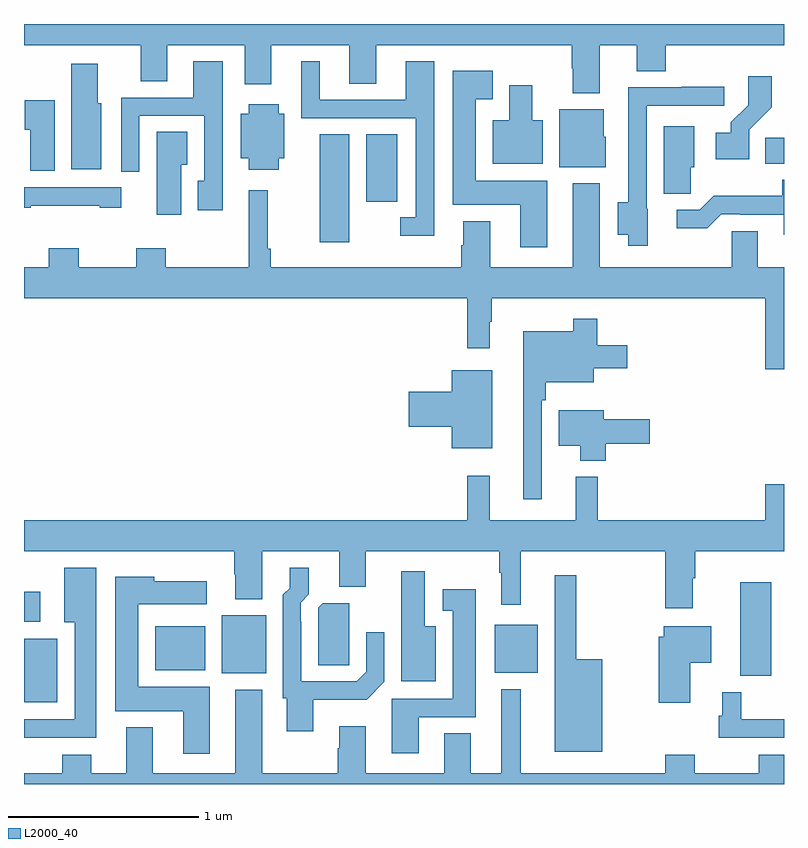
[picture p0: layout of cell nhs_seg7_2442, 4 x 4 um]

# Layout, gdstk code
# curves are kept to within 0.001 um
import gdstk
lib = gdstk.Library(unit=1e-6, precision=1e-09)
def R(c, l, rs):  # rectangles x0, y0, x1, y1
    for r in rs: c.add(gdstk.rectangle(r[:2], r[2:], *l))
def P(c, l, *ps):  # polygons
    for p in ps: c.add(gdstk.Polygon(p, *l))
L2000_40 = (2000, 40)

nhs_seg7_2442 = lib.new_cell('nhs_seg7_2442')
R(nhs_seg7_2442, L2000_40, [(269,1058.429,269.176,1058.764), (272.771,1058.571,272.932,1059.061), (270.041,1058.582,270.274,1058.887), (271.478,1058.585,271.705,1058.839), (269.69,1058.6,269.953,1058.83), (269,1058.853,269.086,1059.013), (270.557,1060.851,270.712,1061.42), (270.8,1061.064,270.964,1061.42), (272.902,1061.264,273,1061.402)])
P(nhs_seg7_2442, L2000_40, [(272.029,1061.888),(272.225,1061.888),(272.225,1061.752),(272.378,1061.752),(272.378,1061.888),(273,1061.888),(273,1062),(269,1062),(269,1061.888),(269.615,1061.888),(269.615,1061.698),(269.755,1061.698),(269.755,1061.888),(270.161,1061.888),(270.161,1061.682),(270.301,1061.682),(270.301,1061.888),(270.713,1061.888),(270.713,1061.686),(270.853,1061.686),(270.853,1061.888),(271.882,1061.888),(271.882,1061.768),(271.889,1061.768),(271.889,1061.636),(272.029,1061.636)],
  [(271.158,1061.803),(271.01,1061.803),(271.01,1061.601),(270.556,1061.601),(270.556,1061.803),(270.458,1061.803),(270.458,1061.505),(271.062,1061.505),(271.062,1060.983),(270.981,1060.983),(270.981,1060.886),(271.158,1060.886)],
  [(270.045,1061.803),(269.891,1061.803),(269.891,1061.613),(269.511,1061.613),(269.511,1061.223),(269.607,1061.223),(269.607,1061.517),(269.949,1061.517),(269.949,1061.175),(269.915,1061.175),(269.915,1061.019),(270.045,1061.019)],
  [(269.407,1061.583),(269.389,1061.583),(269.389,1061.791),(269.249,1061.791),(269.249,1061.235),(269.407,1061.235)],
  [(271.753,1061.176),(271.378,1061.176),(271.378,1061.603),(271.468,1061.603),(271.468,1061.755),(271.256,1061.755),(271.256,1061.048),(271.613,1061.048),(271.613,1060.824),(271.753,1060.824)],
  [(272.817,1061.443),(272.936,1061.562),(272.936,1061.725),(272.811,1061.725),(272.811,1061.573),(272.72,1061.483),(272.72,1061.428),(272.64,1061.428),(272.64,1061.288),(272.817,1061.288)],
  [(271.729,1061.494),(271.675,1061.494),(271.675,1061.677),(271.553,1061.677),(271.553,1061.494),(271.466,1061.494),(271.466,1061.264),(271.729,1061.264)],
  [(272.284,1061.028),(272.277,1061.028),(272.277,1061.571),(272.686,1061.571),(272.686,1061.67),(272.461,1061.67),(272.461,1061.667),(272.181,1061.667),(272.181,1061.063),(272.126,1061.063),(272.126,1060.892),(272.18,1060.892),(272.18,1060.832),(272.284,1060.832)],
  [(269.161,1061.599),(269.003,1061.599),(269.003,1061.443),(269.033,1061.443),(269.033,1061.227),(269.161,1061.227)],
  [(270.34,1061.294),(270.37,1061.294),(270.37,1061.527),(270.34,1061.527),(270.34,1061.578),(270.182,1061.578),(270.182,1061.527),(270.14,1061.527),(270.14,1061.294),(270.182,1061.294),(270.182,1061.234),(270.34,1061.234)],
  [(272.062,1061.406),(272.05,1061.406),(272.05,1061.551),(271.817,1061.551),(271.817,1061.246),(272.062,1061.246)],
  [(272.508,1061.247),(272.527,1061.247),(272.527,1061.461),(272.366,1061.461),(272.366,1061.107),(272.508,1061.107)],
  [(269.827,1061.258),(269.86,1061.258),(269.86,1061.432),(269.699,1061.432),(269.699,1060.995),(269.827,1060.995)],
  [(273,1061.179),(272.992,1061.179),(272.992,1061.095),(272.629,1061.095),(272.556,1061.022),(272.436,1061.022),(272.436,1060.925),(272.597,1060.925),(272.67,1060.998),(272.77,1060.998),(272.77,1060.995),(272.999,1060.995),(273,1060.89)],
  [(273,1060.72),(272.863,1060.72),(272.863,1060.91),(272.724,1060.91),(272.724,1060.72),(272.029,1060.72),(272.029,1061.161),(271.889,1061.161),(271.889,1060.72),(271.453,1060.72),(271.453,1060.963),(271.313,1060.963),(271.313,1060.836),(271.301,1060.836),(271.301,1060.72),(270.299,1060.72),(270.299,1060.816),(270.284,1060.816),(270.284,1061.125),(270.182,1061.125),(270.182,1060.72),(269.745,1060.72),(269.745,1060.819),(269.59,1060.819),(269.59,1060.72),(269.289,1060.72),(269.289,1060.819),(269.129,1060.819),(269.129,1060.72),(269,1060.72),(269,1060.556),(271.333,1060.556),(271.333,1060.293),(271.45,1060.293),(271.45,1060.433),(271.462,1060.433),(271.462,1060.556),(272.9,1060.556),(272.9,1060.182),(273,1060.182)],
  [(269.035,1061.044),(269.399,1061.044),(269.399,1061.034),(269.511,1061.034),(269.511,1061.142),(269,1061.142),(269,1061.034),(269.035,1061.034)],
  [(271.725,1060.019),(271.745,1060.019),(271.745,1060.115),(271.999,1060.115),(271.999,1060.187),(272.176,1060.187),(272.176,1060.309),(272.018,1060.309),(272.018,1060.45),(271.89,1060.45),(271.89,1060.384),(271.628,1060.384),(271.628,1059.498),(271.725,1059.498)],
  [(271.465,1060.177),(271.25,1060.177),(271.25,1060.064),(271.026,1060.064),(271.026,1059.881),(271.25,1059.881),(271.25,1059.767),(271.465,1059.767)],
  [(272.063,1059.79),(272.293,1059.79),(272.293,1059.919),(272.05,1059.919),(272.05,1059.967),(271.814,1059.967),(271.814,1059.779),(271.928,1059.779),(271.928,1059.701),(272.063,1059.701)],
  [(272.521,1059.083),(272.534,1059.083),(272.534,1059.224),(273,1059.224),(273,1059.577),(272.9,1059.577),(272.9,1059.388),(272.021,1059.388),(272.021,1059.616),(271.904,1059.616),(271.904,1059.388),(271.451,1059.388),(271.451,1059.622),(271.333,1059.622),(271.333,1059.388),(269,1059.388),(269,1059.224),(270.106,1059.224),(270.106,1059.104),(270.113,1059.104),(270.113,1058.972),(270.253,1058.972),(270.253,1059.224),(270.659,1059.224),(270.659,1059.037),(270.799,1059.037),(270.799,1059.224),(271.501,1059.224),(271.501,1059.112),(271.511,1059.112),(271.511,1058.943),(271.615,1058.943),(271.615,1059.224),(272.374,1059.224),(272.374,1058.925),(272.521,1058.925)],
  [(269.38,1059.139),(269.213,1059.139),(269.213,1058.852),(269.267,1058.852),(269.267,1058.34),(269,1058.34),(269,1058.243),(269.38,1058.243)],
  [(270.523,1058.444),(270.803,1058.444),(270.897,1058.538),(270.897,1058.8),(270.801,1058.8),(270.801,1058.592),(270.75,1058.541),(270.459,1058.541),(270.459,1058.855),(270.456,1058.855),(270.456,1058.955),(270.499,1058.998),(270.499,1059.139),(270.398,1059.139),(270.398,1059.03),(270.363,1058.995),(270.363,1058.451),(270.383,1058.451),(270.383,1058.277),(270.523,1058.277)],
  [(271.168,1058.83),(271.108,1058.83),(271.108,1059.121),(270.986,1059.121),(270.986,1058.54),(271.168,1058.54)],
  [(272.044,1058.656),(271.907,1058.656),(271.907,1059.1),(271.793,1059.1),(271.793,1058.171),(272.044,1058.171)],
  [(269.977,1058.512),(269.602,1058.512),(269.602,1058.945),(269.962,1058.945),(269.962,1059.067),(269.685,1059.067),(269.685,1059.091),(269.48,1059.091),(269.48,1058.384),(269.837,1058.384),(269.837,1058.16),(269.977,1058.16)],
  [(271.078,1058.352),(271.378,1058.352),(271.378,1059.025),(271.203,1059.025),(271.203,1058.912),(271.256,1058.912),(271.256,1058.448),(270.935,1058.448),(270.935,1058.163),(271.078,1058.163)],
  [(270.711,1058.737),(270.712,1058.737),(270.712,1058.952),(270.573,1058.952),(270.549,1058.928),(270.549,1058.626),(270.711,1058.626)],
  [(272.506,1058.639),(272.617,1058.639),(272.617,1058.83),(272.366,1058.83),(272.366,1058.775),(272.341,1058.775),(272.341,1058.427),(272.506,1058.427)],
  [(273,1058.155),(272.866,1058.155),(272.866,1058.056),(272.529,1058.056),(272.529,1058.155),(272.374,1058.155),(272.374,1058.056),(271.615,1058.056),(271.615,1058.5),(271.511,1058.5),(271.511,1058.056),(271.351,1058.056),(271.351,1058.267),(271.211,1058.267),(271.211,1058.056),(270.799,1058.056),(270.799,1058.305),(270.659,1058.305),(270.659,1058.189),(270.652,1058.189),(270.652,1058.056),(270.253,1058.056),(270.253,1058.497),(270.113,1058.497),(270.113,1058.056),(269.677,1058.056),(269.677,1058.299),(269.537,1058.299),(269.537,1058.056),(269.353,1058.056),(269.353,1058.155),(269.201,1058.155),(269.201,1058.056),(269,1058.056),(269,1058),(273,1058)],
  [(273,1058.34),(272.775,1058.34),(272.775,1058.482),(272.675,1058.482),(272.675,1058.358),(272.656,1058.358),(272.656,1058.244),(273,1058.244)])

lib.write_gds('nhs_seg7_2442.gds')
